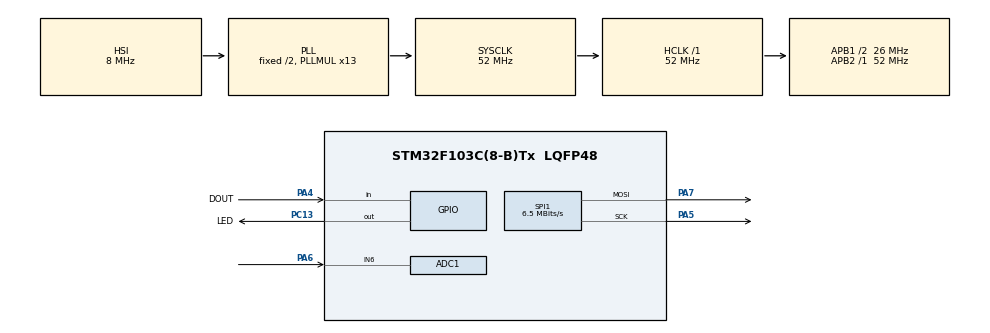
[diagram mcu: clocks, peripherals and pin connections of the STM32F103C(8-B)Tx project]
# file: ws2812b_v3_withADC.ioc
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ADC1.Channel-1\#ChannelRegularConversion=ADC_CHANNEL_6
ADC1.ContinuousConvMode=ENABLE
ADC1.NbrOfConversion=1
ADC1.NbrOfConversionFlag=1
ADC1.Rank-1\#ChannelRegularConversion=1
ADC1.SamplingTime-1\#ChannelRegularConversion=ADC_SAMPLETIME_7CYCLES_5
ADC1.master=1
Mcu.Family=STM32F1
Mcu.Name=STM32F103C(8-B)Tx
Mcu.Package=LQFP48
NVIC.PriorityGroup=NVIC_PRIORITYGROUP_4
PA4.GPIO_Label=DOUT
PA4.Signal=GPIO_Input
PA5.Mode=TX_Only_Simplex_Unidirect_Master
PA5.Signal=SPI1_SCK
PA6.Signal=ADCx_IN6
PA7.Mode=TX_Only_Simplex_Unidirect_Master
PA7.Signal=SPI1_MOSI
PC13-TAMPER-RTC.GPIO_Label=LED
PC13-TAMPER-RTC.Signal=GPIO_Output
ProjectManager.HeapSize=0x200
ProjectManager.StackSize=0x400
ProjectManager.TargetToolchain=TrueSTUDIO
RCC.ADCPresc=RCC_ADCPCLK2_DIV4
RCC.AHBFreq_Value=52000000
RCC.APB1CLKDivider=RCC_HCLK_DIV2
RCC.APB1Freq_Value=26000000
RCC.APB1TimFreq_Value=52000000
RCC.APB2Freq_Value=52000000
RCC.APB2TimFreq_Value=52000000
RCC.HCLKFreq_Value=52000000
RCC.PLLMUL=RCC_PLL_MUL13
RCC.SYSCLKFreq_VALUE=52000000
RCC.SYSCLKSource=RCC_SYSCLKSOURCE_PLLCLK
RCC.USBFreq_Value=52000000
SH.ADCx_IN6.0=ADC1_IN6,IN6
SPI1.BaudRatePrescaler=SPI_BAUDRATEPRESCALER_8
SPI1.CalculateBaudRate=6.5 MBits/s
SPI1.Direction=SPI_DIRECTION_2LINES
SPI1.Mode=SPI_MODE_MASTER
SPI1.VirtualType=VM_MASTER
VP_SYS_VS_ND.Mode=No_Debug
board=custom

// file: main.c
/* USER CODE BEGIN Header */
/**
  ******************************************************************************
  * @file           : main.c
  * @brief          : Main program body
  ******************************************************************************
  * @attention
  *
  * <h2><center>&copy; Copyright (c) 2019 STMicroelectronics.
  * All rights reserved.</center></h2>
  *
  * This software component is licensed by ST under BSD 3-Clause license,
  * the "License"; You may not use this file except in compliance with the
  * License. You may obtain a copy of the License at:
  *                        opensource.org/licenses/BSD-3-Clause
  *
  ******************************************************************************
  */
/* USER CODE END Header */

#include "main.h"

ADC_HandleTypeDef hadc1;

SPI_HandleTypeDef hspi1;

void SystemClock_Config(void);
static void MX_GPIO_Init(void);
static void MX_SPI1_Init(void);
static void MX_ADC1_Init(void);

/* USER CODE BEGIN 0 */
void num2bin_ws2812(uint8_t num, uint8_t out[], uint8_t offset)
{
	uint8_t one = 0b11111000;
	uint8_t zero = 0b11000000;
	int i;

	for(i=7; i>=0; i--)
	{
		if((num & 0x01) == 1)
		{
			out[offset*8 + i] = one;
		} else
		{
			out[offset*8 + i] = zero;
		}
		num = num >> 1;
	}
}

void set_color_ws2812(uint8_t red, uint8_t green, uint8_t blue, uint8_t out[], uint8_t index)
{
	num2bin_ws2812(green, out, index*3 + 0);
	num2bin_ws2812(red, out, index*3 + 1);
	num2bin_ws2812(blue, out, index*3 + 2);
}
/* USER CODE END 0 */

int main(void)
{

  /* MCU Configuration--------------------------------------------------------*/

  /* Reset of all peripherals, Initializes the Flash interface and the Systick. */
  HAL_Init();

  /* Configure the system clock */
  SystemClock_Config();

  /* Initialize all configured peripherals */
  MX_GPIO_Init();
  MX_SPI1_Init();
  MX_ADC1_Init();
  /* USER CODE BEGIN 2 */

  int i;
  uint8_t data_led[888];
  uint8_t reset[45] = {0};
  uint16_t adc_val;
  uint16_t leds = 0;
  uint16_t leds_old = 0;
  HAL_ADC_Start(&hadc1);

  /* USER CODE END 2 */
  HAL_GPIO_WritePin(LED_GPIO_Port, LED_Pin, 0);
  /* Infinite loop */
  /* USER CODE BEGIN WHILE */
  HAL_SPI_Transmit(&hspi1, reset, 40, 250);

  while (1)
  {
    /* USER CODE END WHILE */
	  if(HAL_ADC_PollForConversion(&hadc1, 100) == HAL_OK)
	  {
		  adc_val = HAL_ADC_GetValue(&hadc1);

		  if(adc_val < 2000)
			  leds = 1;
		  else
			  leds = floor((adc_val-2000)/36);

		  if(leds > 37)
			  leds = 37;
	  }

	  if(leds > leds_old)
	  {
		  for(i=leds_old; i<37; i++)
		  {
			  if(i < leds)
			  {
				  if(i < 20)
					  set_color_ws2812(0,100,0, data_led, i);
				  else if(i >= 20 && i < 30)
					  set_color_ws2812(240,250,0, data_led, i);
				  else
					  set_color_ws2812(100,0,0, data_led, i);
			  } else
				  set_color_ws2812(0,0,0, data_led, i);
		  }
	  } else if (leds < leds_old)
		  for(i=leds_old; i>=leds; i--)
			  set_color_ws2812(0,0,0, data_led, i);

	  if(leds != leds_old)
		  HAL_SPI_Transmit(&hspi1, data_led, 888, 1000);

	  leds_old = leds;
  }
}

void SystemClock_Config(void)
{
  RCC_OscInitTypeDef RCC_OscInitStruct = {0};
  RCC_ClkInitTypeDef RCC_ClkInitStruct = {0};
  RCC_PeriphCLKInitTypeDef PeriphClkInit = {0};

  /** Initializes the CPU, AHB and APB busses clocks
  */
  RCC_OscInitStruct.OscillatorType = RCC_OSCILLATORTYPE_HSI;
  RCC_OscInitStruct.HSIState = RCC_HSI_ON;
  RCC_OscInitStruct.HSICalibrationValue = RCC_HSICALIBRATION_DEFAULT;
  RCC_OscInitStruct.PLL.PLLState = RCC_PLL_ON;
  RCC_OscInitStruct.PLL.PLLSource = RCC_PLLSOURCE_HSI_DIV2;
  RCC_OscInitStruct.PLL.PLLMUL = RCC_PLL_MUL13;
  if (HAL_RCC_OscConfig(&RCC_OscInitStruct) != HAL_OK)
  {
    Error_Handler();
  }
  /** Initializes the CPU, AHB and APB busses clocks
  */
  RCC_ClkInitStruct.ClockType = RCC_CLOCKTYPE_HCLK|RCC_CLOCKTYPE_SYSCLK
                              |RCC_CLOCKTYPE_PCLK1|RCC_CLOCKTYPE_PCLK2;
  RCC_ClkInitStruct.SYSCLKSource = RCC_SYSCLKSOURCE_PLLCLK;
  RCC_ClkInitStruct.AHBCLKDivider = RCC_SYSCLK_DIV1;
  RCC_ClkInitStruct.APB1CLKDivider = RCC_HCLK_DIV2;
  RCC_ClkInitStruct.APB2CLKDivider = RCC_HCLK_DIV1;

  if (HAL_RCC_ClockConfig(&RCC_ClkInitStruct, FLASH_LATENCY_2) != HAL_OK)
  {
    Error_Handler();
  }
  PeriphClkInit.PeriphClockSelection = RCC_PERIPHCLK_ADC;
  PeriphClkInit.AdcClockSelection = RCC_ADCPCLK2_DIV4;
  if (HAL_RCCEx_PeriphCLKConfig(&PeriphClkInit) != HAL_OK)
  {
    Error_Handler();
  }
}

static void MX_ADC1_Init(void)
{

  ADC_ChannelConfTypeDef sConfig = {0};

  /** Common config
  */
  hadc1.Instance = ADC1;
  hadc1.Init.ScanConvMode = ADC_SCAN_DISABLE;
  hadc1.Init.ContinuousConvMode = ENABLE;
  hadc1.Init.DiscontinuousConvMode = DISABLE;
  hadc1.Init.ExternalTrigConv = ADC_SOFTWARE_START;
  hadc1.Init.DataAlign = ADC_DATAALIGN_RIGHT;
  hadc1.Init.NbrOfConversion = 1;
  if (HAL_ADC_Init(&hadc1) != HAL_OK)
  {
    Error_Handler();
  }
  /** Configure Regular Channel
  */
  sConfig.Channel = ADC_CHANNEL_6;
  sConfig.Rank = ADC_REGULAR_RANK_1;
  sConfig.SamplingTime = ADC_SAMPLETIME_7CYCLES_5;
  if (HAL_ADC_ConfigChannel(&hadc1, &sConfig) != HAL_OK)
  {
    Error_Handler();
  }

}

static void MX_SPI1_Init(void)
{

  /* SPI1 parameter configuration*/
  hspi1.Instance = SPI1;
  hspi1.Init.Mode = SPI_MODE_MASTER;
  hspi1.Init.Direction = SPI_DIRECTION_2LINES;
  hspi1.Init.DataSize = SPI_DATASIZE_8BIT;
  hspi1.Init.CLKPolarity = SPI_POLARITY_LOW;
  hspi1.Init.CLKPhase = SPI_PHASE_1EDGE;
  hspi1.Init.NSS = SPI_NSS_SOFT;
  hspi1.Init.BaudRatePrescaler = SPI_BAUDRATEPRESCALER_8;
  hspi1.Init.FirstBit = SPI_FIRSTBIT_MSB;
  hspi1.Init.TIMode = SPI_TIMODE_DISABLE;
  hspi1.Init.CRCCalculation = SPI_CRCCALCULATION_DISABLE;
  hspi1.Init.CRCPolynomial = 10;
  if (HAL_SPI_Init(&hspi1) != HAL_OK)
  {
    Error_Handler();
  }

}

static void MX_GPIO_Init(void)
{
  GPIO_InitTypeDef GPIO_InitStruct = {0};

  /* GPIO Ports Clock Enable */
  __HAL_RCC_GPIOC_CLK_ENABLE();
  __HAL_RCC_GPIOA_CLK_ENABLE();

  /*Configure GPIO pin Output Level */
  HAL_GPIO_WritePin(LED_GPIO_Port, LED_Pin, GPIO_PIN_RESET);

  /*Configure GPIO pin : LED_Pin */
  GPIO_InitStruct.Pin = LED_Pin;
  GPIO_InitStruct.Mode = GPIO_MODE_OUTPUT_PP;
  GPIO_InitStruct.Pull = GPIO_NOPULL;
  GPIO_InitStruct.Speed = GPIO_SPEED_FREQ_LOW;
  HAL_GPIO_Init(LED_GPIO_Port, &GPIO_InitStruct);

  /*Configure GPIO pin : DOUT_Pin */
  GPIO_InitStruct.Pin = DOUT_Pin;
  GPIO_InitStruct.Mode = GPIO_MODE_INPUT;
  GPIO_InitStruct.Pull = GPIO_NOPULL;
  HAL_GPIO_Init(DOUT_GPIO_Port, &GPIO_InitStruct);

}

void Error_Handler(void)
{
}

/************************ (C) COPYRIGHT STMicroelectronics *****END OF FILE****/
